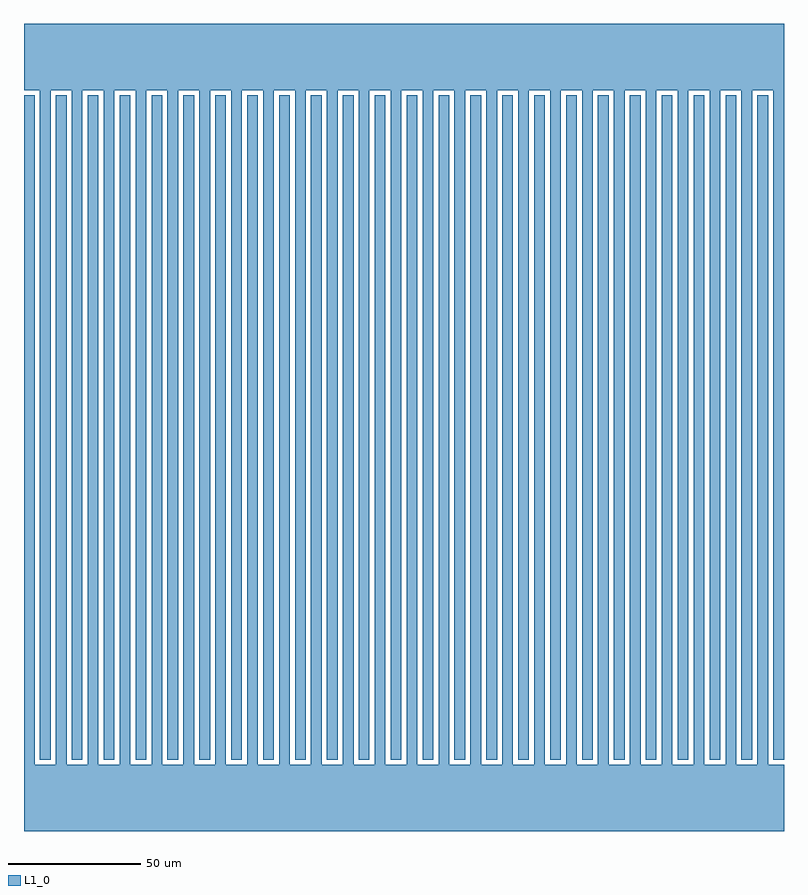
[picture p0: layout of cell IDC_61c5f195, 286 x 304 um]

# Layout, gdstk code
import gdstk
lib = gdstk.Library(unit=1e-6, precision=1e-09)
def R(c, l, rs):  # rectangles x0, y0, x1, y1
    for r in rs: c.add(gdstk.rectangle(r[:2], r[2:], *l))
def A(c, l, x, y, w, h, nx, ny, dx, dy):  # array of equal rectangles
    R(c, l, [(x+i*dx, y+j*dy, x+i*dx+w, y+j*dy+h) for i in range(nx) for j in range(ny)])
L1_0 = (1, 0)

idc_61c5f195 = lib.new_cell('IDC_61c5f195')
A(idc_61c5f195, L1_0, 0, 25, 4, 252, 24, 1, 12, 0)
A(idc_61c5f195, L1_0, 6, 27, 4, 252, 24, 1, 12, 0)
R(idc_61c5f195, L1_0, [(0,0,286,25), (0,279,286,304)])

lib.write_gds('IDC_61c5f195.gds')
